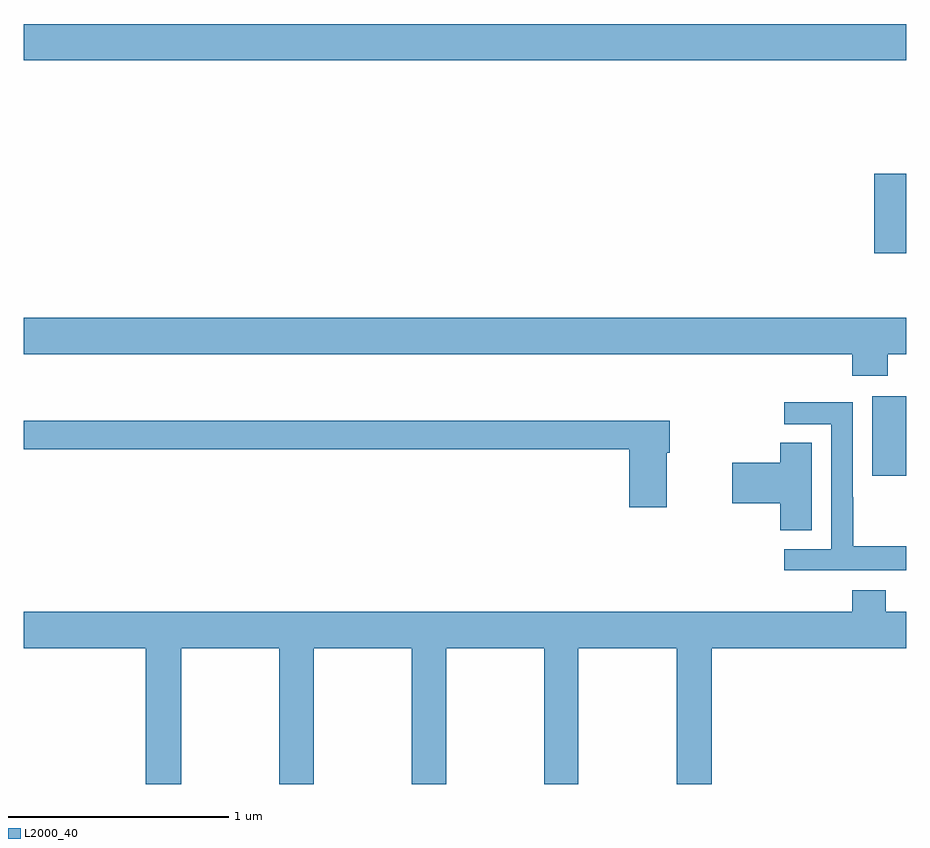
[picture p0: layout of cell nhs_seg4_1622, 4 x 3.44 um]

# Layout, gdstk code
import gdstk
lib = gdstk.Library(unit=1e-6, precision=1e-09)
def R(c, l, rs):  # rectangles x0, y0, x1, y1
    for r in rs: c.add(gdstk.rectangle(r[:2], r[2:], *l))
def P(c, l, *ps):  # polygons
    for p in ps: c.add(gdstk.Polygon(p, *l))
L2000_40 = (2000, 40)

nhs_seg4_1622 = lib.new_cell('nhs_seg4_1622')
R(nhs_seg4_1622, L2000_40, [(198.845,768.297,199,768.658), (198.854,769.306,199,769.666), (195,770.18,199,770.344)])
P(nhs_seg4_1622, L2000_40, [(198.915,768.848),(199,768.848),(199,769.012),(195,769.012),(195,768.848),(198.755,768.848),(198.755,768.749),(198.915,768.749)],
  [(199,767.977),(198.759,767.977),(198.759,768.2),(198.756,768.2),(198.756,768.63),(198.447,768.63),(198.447,768.531),(198.66,768.531),(198.66,767.964),(198.447,767.964),(198.447,767.868),(199,767.868)],
  [(197.914,768.401),(197.927,768.401),(197.927,768.547),(195,768.547),(195,768.418),(197.744,768.418),(197.744,768.153),(197.914,768.153)],
  [(198.571,768.446),(198.428,768.446),(198.428,768.356),(198.21,768.356),(198.21,768.173),(198.428,768.173),(198.428,768.049),(198.571,768.049)],
  [(195.714,767.516),(196.159,767.516),(196.159,766.9),(196.314,766.9),(196.314,767.516),(196.759,767.516),(196.759,766.9),(196.914,766.9),(196.914,767.516),(197.359,767.516),(197.359,766.9),(197.514,766.9),(197.514,767.516),(197.959,767.516),(197.959,766.9),(198.119,766.9),(198.119,767.516),(199,767.516),(199,767.68),(198.907,767.68),(198.907,767.779),(198.755,767.779),(198.755,767.68),(195,767.68),(195,767.516),(195.554,767.516),(195.554,766.9),(195.714,766.9)])

lib.write_gds('nhs_seg4_1622.gds')
